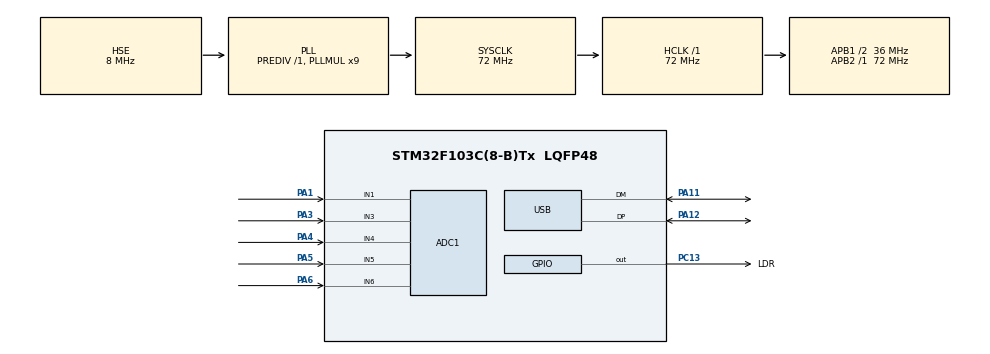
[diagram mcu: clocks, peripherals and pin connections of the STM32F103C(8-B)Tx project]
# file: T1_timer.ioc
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ADC1.Channel-2\#ChannelRegularConversion=ADC_CHANNEL_1
ADC1.Channel-3\#ChannelRegularConversion=ADC_CHANNEL_1
ADC1.Channel-4\#ChannelRegularConversion=ADC_CHANNEL_1
ADC1.Channel-5\#ChannelRegularConversion=ADC_CHANNEL_1
ADC1.Channel-6\#ChannelRegularConversion=ADC_CHANNEL_1
ADC1.NbrOfConversion=5
ADC1.NbrOfConversionFlag=1
ADC1.Rank-2\#ChannelRegularConversion=1
ADC1.Rank-3\#ChannelRegularConversion=2
ADC1.Rank-4\#ChannelRegularConversion=3
ADC1.Rank-5\#ChannelRegularConversion=4
ADC1.Rank-6\#ChannelRegularConversion=5
ADC1.SamplingTime-2\#ChannelRegularConversion=ADC_SAMPLETIME_1CYCLE_5
ADC1.SamplingTime-3\#ChannelRegularConversion=ADC_SAMPLETIME_1CYCLE_5
ADC1.SamplingTime-4\#ChannelRegularConversion=ADC_SAMPLETIME_1CYCLE_5
ADC1.SamplingTime-5\#ChannelRegularConversion=ADC_SAMPLETIME_1CYCLE_5
ADC1.SamplingTime-6\#ChannelRegularConversion=ADC_SAMPLETIME_1CYCLE_5
ADC1.master=1
Mcu.Family=STM32F1
Mcu.Name=STM32F103C(8-B)Tx
Mcu.Package=LQFP48
NVIC.PriorityGroup=NVIC_PRIORITYGROUP_4
NVIC.TIM1_UP_IRQn=true\:0\:0\:false\:false\:true\:true\:true\:true
NVIC.USB_LP_CAN1_RX0_IRQn=true\:0\:0\:false\:false\:true\:false\:true\:true
PA1.Signal=ADCx_IN1
PA11.Mode=Device
PA11.Signal=USB_DM
PA12.Mode=Device
PA12.Signal=USB_DP
PA13.Mode=Serial_Wire
PA13.Signal=SYS_JTMS-SWDIO
PA14.Mode=Serial_Wire
PA14.Signal=SYS_JTCK-SWCLK
PA3.Signal=ADCx_IN3
PA4.Signal=ADCx_IN4
PA5.Signal=ADCx_IN5
PA6.Signal=ADCx_IN6
PC13-TAMPER-RTC.GPIO_Label=LDR
PC13-TAMPER-RTC.Signal=GPIO_Output
PD0-OSC_IN.Mode=HSE-External-Oscillator
PD0-OSC_IN.Signal=RCC_OSC_IN
PD1-OSC_OUT.Mode=HSE-External-Oscillator
PD1-OSC_OUT.Signal=RCC_OSC_OUT
ProjectManager.HeapSize=0x200
ProjectManager.StackSize=0x400
ProjectManager.TargetToolchain=EWARM V8.32
RCC.ADCPresc=RCC_ADCPCLK2_DIV6
RCC.AHBFreq_Value=72000000
RCC.APB1CLKDivider=RCC_HCLK_DIV2
RCC.APB1Freq_Value=36000000
RCC.APB1TimFreq_Value=72000000
RCC.APB2Freq_Value=72000000
RCC.APB2TimFreq_Value=72000000
RCC.HCLKFreq_Value=72000000
RCC.PLLMUL=RCC_PLL_MUL9
RCC.PLLSourceVirtual=RCC_PLLSOURCE_HSE
RCC.SYSCLKFreq_VALUE=72000000
RCC.SYSCLKSource=RCC_SYSCLKSOURCE_PLLCLK
RCC.USBFreq_Value=48000000
RCC.USBPrescaler=RCC_USBCLKSOURCE_PLL_DIV1_5
SH.ADCx_IN1.0=ADC1_IN1,IN1
SH.ADCx_IN3.0=ADC1_IN3,IN3
SH.ADCx_IN4.0=ADC1_IN4,IN4
SH.ADCx_IN5.0=ADC1_IN5,IN5
SH.ADCx_IN6.0=ADC1_IN6,IN6
TIM1.AutoReloadPreload=TIM_AUTORELOAD_PRELOAD_DISABLE
TIM1.Period=720
TIM1.Prescaler=100
TIM1.RepetitionCounter=0
USB_DEVICE.CLASS_NAME_FS=CDC
USB_DEVICE.VirtualMode=Cdc
USB_DEVICE.VirtualModeFS=Cdc_FS
VP_TIM1_VS_ClockSourceINT.Mode=Internal
VP_USB_DEVICE_VS_USB_DEVICE_CDC_FS.Mode=CDC_FS
board=custom

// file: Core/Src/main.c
/* USER CODE BEGIN Header */
/**
  ******************************************************************************
  * @file           : main.c
  * @brief          : Main program body
  ******************************************************************************
  * @attention
  *
  * Copyright (c) 2024 STMicroelectronics.
  * All rights reserved.
  *
  * This software is licensed under terms that can be found in the LICENSE file
  * in the root directory of this software component.
  * If no LICENSE file comes with this software, it is provided AS-IS.
  *
  ******************************************************************************
  */
/* USER CODE END Header */
#include "main.h"
#include "usb_device.h"

/* USER CODE BEGIN Includes */
#include "stm32f1xx_hal.h"      // Main STM32 HAL header
//#include "stm32f1xx_hal_uart.h" // UART HAL library for communication with ESP32
#include "string.h"             // String manipulation functions like strstr, strncpy
#include "stdio.h"              // For printf (optional, for debugging output)
uint8_t ext_flag = 0,counter=0;
/* USER CODE END Includes */

ADC_HandleTypeDef hadc1;

TIM_HandleTypeDef htim1;

/* USER CODE BEGIN PV */

uint32_t adc_values=0 ,O=0,V1=0,V2=0,I1=0,I2=0;
void Config_ADC1(uint32_t channel);
uint32_t Read_ADC1(uint32_t channel);
extern  void CDC_Transmit(char* buf);
/* USER CODE END PV */

void SystemClock_Config(void);
static void MX_GPIO_Init(void);
static void MX_TIM1_Init(void);
static void MX_ADC1_Init(void);

/* USER CODE BEGIN 0 */
char json_buffer[256];
/* USER CODE END 0 */

int main(void)
{

  /* MCU Configuration--------------------------------------------------------*/

  /* Reset of all peripherals, Initializes the Flash interface and the Systick. */
  HAL_Init();

  /* Configure the system clock */
  SystemClock_Config();

  /* Initialize all configured peripherals */
  MX_GPIO_Init();
  MX_TIM1_Init();
  MX_USB_DEVICE_Init();
  MX_ADC1_Init();
  /* USER CODE BEGIN 2 */
  //HAL_TIM_Base_Start(&htim1);
  HAL_TIM_Base_Start_IT(&htim1);
  /* USER CODE END 2 */

  /* Infinite loop */
  /* USER CODE BEGIN WHILE */
  while (1)
  {
       //HAL_GPIO_TogglePin(GPIOA,flag_Pin);

    /* USER CODE END WHILE */

    /* USER CODE BEGIN 3 */

    if(ext_flag == 1){
      HAL_GPIO_TogglePin(LDR_GPIO_Port,LDR_Pin);
     // HAL_GPIO_TogglePin(test_GPIO_Port,test_Pin);
     // CDC_Transmit("Hello from STM32 via USB CDC\r\n");
     // CDC_Transmit( ext_flag);
      ext_flag = 0;
     // GSM_Send_JSON();
    }

  }

  // Utility function to send a command over UART

  /* USER CODE END 3 */
}

void SystemClock_Config(void)
{
  RCC_OscInitTypeDef RCC_OscInitStruct = {0};
  RCC_ClkInitTypeDef RCC_ClkInitStruct = {0};
  RCC_PeriphCLKInitTypeDef PeriphClkInit = {0};

  /** Initializes the RCC Oscillators according to the specified parameters
  * in the RCC_OscInitTypeDef structure.
  */
  RCC_OscInitStruct.OscillatorType = RCC_OSCILLATORTYPE_HSE;
  RCC_OscInitStruct.HSEState = RCC_HSE_ON;
  RCC_OscInitStruct.HSEPredivValue = RCC_HSE_PREDIV_DIV1;
  RCC_OscInitStruct.HSIState = RCC_HSI_ON;
  RCC_OscInitStruct.PLL.PLLState = RCC_PLL_ON;
  RCC_OscInitStruct.PLL.PLLSource = RCC_PLLSOURCE_HSE;
  RCC_OscInitStruct.PLL.PLLMUL = RCC_PLL_MUL9;
  if (HAL_RCC_OscConfig(&RCC_OscInitStruct) != HAL_OK)
  {
    Error_Handler();
  }

  /** Initializes the CPU, AHB and APB buses clocks
  */
  RCC_ClkInitStruct.ClockType = RCC_CLOCKTYPE_HCLK|RCC_CLOCKTYPE_SYSCLK
                              |RCC_CLOCKTYPE_PCLK1|RCC_CLOCKTYPE_PCLK2;
  RCC_ClkInitStruct.SYSCLKSource = RCC_SYSCLKSOURCE_PLLCLK;
  RCC_ClkInitStruct.AHBCLKDivider = RCC_SYSCLK_DIV1;
  RCC_ClkInitStruct.APB1CLKDivider = RCC_HCLK_DIV2;
  RCC_ClkInitStruct.APB2CLKDivider = RCC_HCLK_DIV1;

  if (HAL_RCC_ClockConfig(&RCC_ClkInitStruct, FLASH_LATENCY_2) != HAL_OK)
  {
    Error_Handler();
  }
  PeriphClkInit.PeriphClockSelection = RCC_PERIPHCLK_ADC|RCC_PERIPHCLK_USB;
  PeriphClkInit.AdcClockSelection = RCC_ADCPCLK2_DIV6;
  PeriphClkInit.UsbClockSelection = RCC_USBCLKSOURCE_PLL_DIV1_5;
  if (HAL_RCCEx_PeriphCLKConfig(&PeriphClkInit) != HAL_OK)
  {
    Error_Handler();
  }
}

static void MX_ADC1_Init(void)
{

  ADC_ChannelConfTypeDef sConfig = {0};

  /** Common config
  */
  hadc1.Instance = ADC1;
  hadc1.Init.ScanConvMode = ADC_SCAN_ENABLE;
  hadc1.Init.ContinuousConvMode = DISABLE;
  hadc1.Init.DiscontinuousConvMode = DISABLE;
  hadc1.Init.ExternalTrigConv = ADC_SOFTWARE_START;
  hadc1.Init.DataAlign = ADC_DATAALIGN_RIGHT;
  hadc1.Init.NbrOfConversion = 5;
  if (HAL_ADC_Init(&hadc1) != HAL_OK)
  {
    Error_Handler();
  }

  /** Configure Regular Channel
  */
  sConfig.Channel = ADC_CHANNEL_1;
  sConfig.Rank = ADC_REGULAR_RANK_1;
  sConfig.SamplingTime = ADC_SAMPLETIME_1CYCLE_5;
  if (HAL_ADC_ConfigChannel(&hadc1, &sConfig) != HAL_OK)
  {
    Error_Handler();
  }

  /** Configure Regular Channel
  */
  sConfig.Rank = ADC_REGULAR_RANK_2;
  if (HAL_ADC_ConfigChannel(&hadc1, &sConfig) != HAL_OK)
  {
    Error_Handler();
  }

  /** Configure Regular Channel
  */
  sConfig.Rank = ADC_REGULAR_RANK_3;
  if (HAL_ADC_ConfigChannel(&hadc1, &sConfig) != HAL_OK)
  {
    Error_Handler();
  }

  /** Configure Regular Channel
  */
  sConfig.Rank = ADC_REGULAR_RANK_4;
  if (HAL_ADC_ConfigChannel(&hadc1, &sConfig) != HAL_OK)
  {
    Error_Handler();
  }

  /** Configure Regular Channel
  */
  sConfig.Rank = ADC_REGULAR_RANK_5;
  if (HAL_ADC_ConfigChannel(&hadc1, &sConfig) != HAL_OK)
  {
    Error_Handler();
  }

}

static void MX_TIM1_Init(void)
{

  TIM_ClockConfigTypeDef sClockSourceConfig = {0};
  TIM_MasterConfigTypeDef sMasterConfig = {0};

  htim1.Instance = TIM1;
  htim1.Init.Prescaler = 100;
  htim1.Init.CounterMode = TIM_COUNTERMODE_UP;
  htim1.Init.Period = 720;
  htim1.Init.ClockDivision = TIM_CLOCKDIVISION_DIV1;
  htim1.Init.RepetitionCounter = 0;
  htim1.Init.AutoReloadPreload = TIM_AUTORELOAD_PRELOAD_DISABLE;
  if (HAL_TIM_Base_Init(&htim1) != HAL_OK)
  {
    Error_Handler();
  }
  sClockSourceConfig.ClockSource = TIM_CLOCKSOURCE_INTERNAL;
  if (HAL_TIM_ConfigClockSource(&htim1, &sClockSourceConfig) != HAL_OK)
  {
    Error_Handler();
  }
  sMasterConfig.MasterOutputTrigger = TIM_TRGO_RESET;
  sMasterConfig.MasterSlaveMode = TIM_MASTERSLAVEMODE_DISABLE;
  if (HAL_TIMEx_MasterConfigSynchronization(&htim1, &sMasterConfig) != HAL_OK)
  {
    Error_Handler();
  }
  /* USER CODE BEGIN TIM1_Init 2 */
    // Enable the TIM2 interrupt
    HAL_NVIC_SetPriority(TIM10_IRQn , 0, 0);
    HAL_NVIC_EnableIRQ(TIM10_IRQn);
  /* USER CODE END TIM1_Init 2 */

}

static void MX_GPIO_Init(void)
{
  GPIO_InitTypeDef GPIO_InitStruct = {0};

  /* GPIO Ports Clock Enable */
  __HAL_RCC_GPIOC_CLK_ENABLE();
  __HAL_RCC_GPIOD_CLK_ENABLE();
  __HAL_RCC_GPIOA_CLK_ENABLE();

  /*Configure GPIO pin Output Level */
  HAL_GPIO_WritePin(LDR_GPIO_Port, LDR_Pin, GPIO_PIN_RESET);

  /*Configure GPIO pin : LDR_Pin */
  GPIO_InitStruct.Pin = LDR_Pin;
  GPIO_InitStruct.Mode = GPIO_MODE_OUTPUT_PP;
  GPIO_InitStruct.Pull = GPIO_NOPULL;
  GPIO_InitStruct.Speed = GPIO_SPEED_FREQ_LOW;
  HAL_GPIO_Init(LDR_GPIO_Port, &GPIO_InitStruct);

}

/* USER CODE BEGIN 4 */
void HAL_TIM_PeriodElapsedCallback(TIM_HandleTypeDef *htim)
{
    if (htim->Instance == TIM1)
    {
      char buffer [200];
      counter++;
        if(counter >= 2)
        {
        ext_flag = 1;
        counter=0;
        }
        Read_ADC1(ADC_CHANNEL_5);
        O=adc_values;
        Read_ADC1(ADC_CHANNEL_1);
        I1=adc_values;
        Read_ADC1(ADC_CHANNEL_6);
        I2=adc_values;
        Read_ADC1(ADC_CHANNEL_3);
        V1=adc_values;
        Read_ADC1(ADC_CHANNEL_4);
        V2=adc_values;
        snprintf(buffer, 200, "O : %lu  , V1 : %lu  , V2 : %lu , I1 : %lu , I2 : %lu \n" , O,V1,V2,I1,I2 );
          CDC_Transmit (buffer);

    }
}

uint32_t Read_ADC1(uint32_t channel)
{
    uint32_t Max_ADC_Value=0;
    Config_ADC1(channel);

        // Start ADC conversion
        HAL_ADC_Start(&hadc1);
        // Poll for conversion completion and read Channel 1
        if (HAL_ADC_PollForConversion(&hadc1, 10) == HAL_OK)
        {
            adc_values = HAL_ADC_GetValue(&hadc1);  // Store Channel 1 value
        }

        // Stop ADC to restart for the next conversion
        HAL_ADC_Stop(&hadc1);
      return Max_ADC_Value;
}

void Config_ADC1(uint32_t channel)
{
  ADC_ChannelConfTypeDef sConfig = {0};
  hadc1.Instance = ADC1;
  hadc1.Init.ScanConvMode = ADC_SCAN_ENABLE;
  hadc1.Init.ContinuousConvMode = DISABLE;
  hadc1.Init.DiscontinuousConvMode = DISABLE;
  hadc1.Init.ExternalTrigConv = ADC_SOFTWARE_START;
  hadc1.Init.DataAlign = ADC_DATAALIGN_RIGHT;
  hadc1.Init.NbrOfConversion = 1;
  if (HAL_ADC_Init(&hadc1) != HAL_OK)
  {
    Error_Handler();
  }
  sConfig.Channel = channel;
  sConfig.Rank = 1;
  sConfig.SamplingTime = ADC_SAMPLETIME_1CYCLE_5;
  if (HAL_ADC_ConfigChannel(&hadc1, &sConfig) != HAL_OK)
  {
    Error_Handler();
  }
}

/* USER CODE END 4 */

void Error_Handler(void)
{
  __disable_irq();
  while (1)
  {
  }
}
